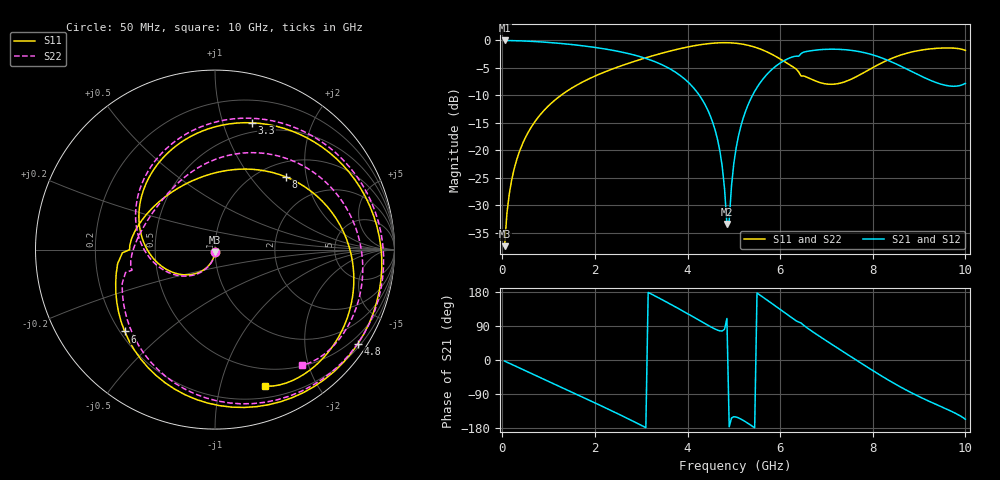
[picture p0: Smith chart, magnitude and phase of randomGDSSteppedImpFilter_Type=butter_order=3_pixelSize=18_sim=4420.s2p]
! freq	dB(S11)	phase(S11)	dB(S12)	phase(S12)
!  dB(S21)	phase(S21)	dB(S22)	phase(S22)
!S-par simulation data
#  GHz  S  DB  R 50
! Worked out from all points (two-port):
!   200 points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, 50 MHz to 10 GHz, reference 50 ohm
!   highest |S21| = 0.00 dB at 50 MHz (marker M1); lowest = -33.3 dB at 4.85 GHz (marker M2)
!   |S21| within 3 dB of the highest: start of sweep to 2.998 GHz; 6.264 GHz to 8.137 GHz (1.873 GHz wide, 26 % of centre)
!   lowest |S11| = -37.4 dB at 50 MHz (marker M3), VSWR 1.03, Z = 49.9 - j1.35 ohm
!   |S11| at or under -10 dB: start of sweep to 1.264 GHz
!   |S22| runs from -37.5 to -0.4 dB; largest |S21 - S12| = 0
!   S11 on the Smith chart (normalised r, x): 50 MHz: 1.00, -0.03; 3.3 GHz: 0.41, +1.25; 4.8 GHz: 0.28, -3.29; 6 GHz: 0.22, -0.37; 8 GHz: 1.29, +1.53; 10 GHz: 0.31, -1.39
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0.05  -37.40 -92.3  -0.00 -2.9  -0.00 -2.9  -37.48 -92.6
0.2  -25.48 -101.9  -0.03 -11.4  -0.03 -11.4  -25.47 -101.1
0.5  -17.65 -119.6  -0.11 -28.4  -0.11 -28.4  -17.65 -118.2
1.15  -10.75 -157.4  -0.47 -65.0  -0.47 -65.0  -10.75 -154.0
1.75  -7.49 167.8  -0.99 -98.8  -0.99 -98.8  -7.49 172.9
2.55  -4.66 120.5  -2.07 -145.1  -2.07 -145.1  -4.67 127.5
3.3  -2.66 73.7  -3.88 168.9  -3.88 168.9  -2.66 82.0
3.4  -2.43 67.2  -4.23 162.5  -4.23 162.5  -2.43 75.6
3.9  -1.37 33.5  -6.76 129.2  -6.76 129.2  -1.38 42.1
4.4  -0.63 -2.6  -12.02 94.4  -12.02 94.4  -0.63 5.8
4.65  -0.45 -21.7  -18.08 78.8  -18.08 78.8  -0.44 -13.6
4.8  -0.41 -33.6  -27.05 81.3  -27.05 81.3  -0.41 -25.6
4.85  -0.42 -37.6  -33.34 109.5  -33.34 109.5  -0.41 -29.6
5.05  -0.52 -54.0  -19.52 -150.4  -19.52 -150.4  -0.51 -46.2
5.5  -1.35 -92.7  -8.55 176.9  -8.55 176.9  -1.34 -84.9
6  -3.36 -137.8  -4.11 133.3  -4.11 133.3  -3.33 -128.7
6.7  -7.15 158.2  -1.83 74.8  -1.83 74.8  -7.05 175.5
7.4  -7.51 93.5  -1.69 18.8  -1.69 18.8  -7.53 121.6
8  -4.94 45.6  -2.63 -27.9  -2.63 -27.9  -5.04 74.0
8.35  -3.47 20.8  -3.70 -53.9  -3.70 -53.9  -3.55 47.1
9.15  -1.63 -27.2  -6.91 -105.2  -6.91 -105.2  -1.65 -5.8
10  -1.82 -69.8  -7.80 -156.3  -7.80 -156.3  -1.85 -53.0
